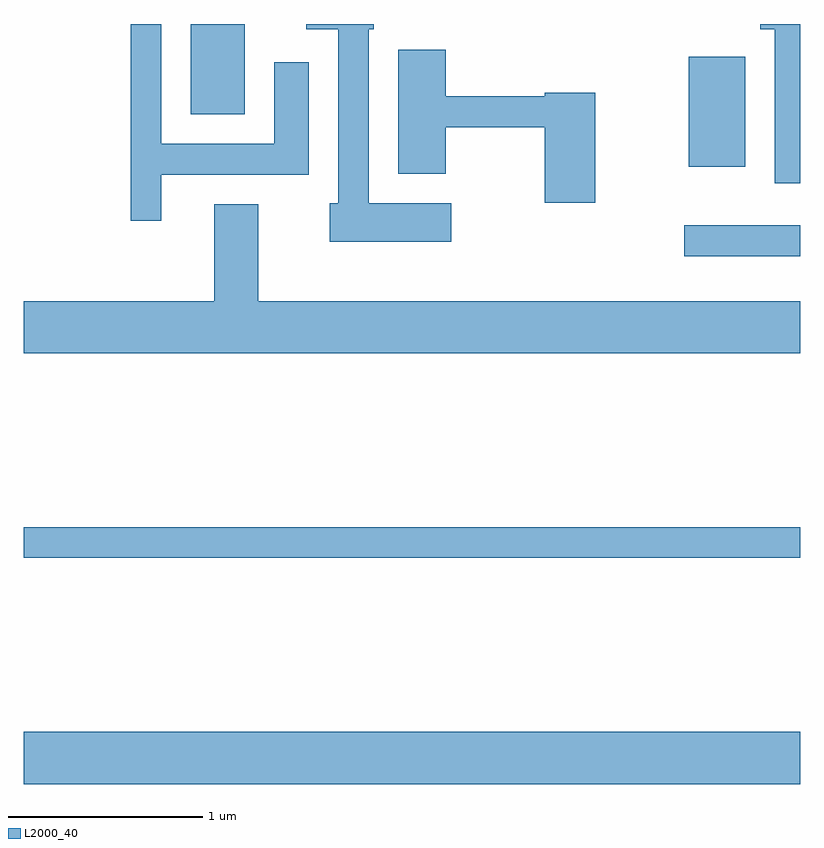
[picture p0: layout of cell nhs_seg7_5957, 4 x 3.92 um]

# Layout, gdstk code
import gdstk
lib = gdstk.Library(unit=1e-6, precision=1e-09)
def R(c, l, rs):  # rectangles x0, y0, x1, y1
    for r in rs: c.add(gdstk.rectangle(r[:2], r[2:], *l))
def P(c, l, *ps):  # polygons
    for p in ps: c.add(gdstk.Polygon(p, *l))
L2000_40 = (2000, 40)

nhs_seg7_5957 = lib.new_cell('nhs_seg7_5957')
R(nhs_seg7_5957, L2000_40, [(367.611,1694.336,371.611,1694.604), (367.611,1695.501,371.611,1695.659), (371.013,1697.056,371.611,1697.214), (371.036,1697.516,371.329,1698.084), (368.471,1697.786,368.749,1698.252)])
P(nhs_seg7_5957, L2000_40, [(368.319,1697.476),(369.079,1697.476),(369.079,1698.054),(368.901,1698.054),(368.901,1697.634),(368.319,1697.634),(368.319,1698.252),(368.161,1698.252),(368.161,1697.238),(368.319,1697.238)],
  [(371.611,1698.252),(371.406,1698.252),(371.406,1698.226),(371.481,1698.226),(371.481,1697.431),(371.611,1697.431)],
  [(369.814,1697.329),(369.389,1697.329),(369.389,1698.226),(369.414,1698.226),(369.414,1698.252),(369.066,1698.252),(369.066,1698.226),(369.231,1698.226),(369.231,1697.329),(369.186,1697.329),(369.186,1697.131),(369.814,1697.131)],
  [(370.554,1697.899),(370.296,1697.899),(370.296,1697.879),(369.784,1697.879),(369.784,1698.119),(369.541,1698.119),(369.541,1697.481),(369.784,1697.481),(369.784,1697.721),(370.296,1697.721),(370.296,1697.331),(370.554,1697.331)],
  [(371.611,1696.824),(368.819,1696.824),(368.819,1697.324),(368.591,1697.324),(368.591,1696.824),(367.611,1696.824),(367.611,1696.556),(371.611,1696.556)])

lib.write_gds('nhs_seg7_5957.gds')
